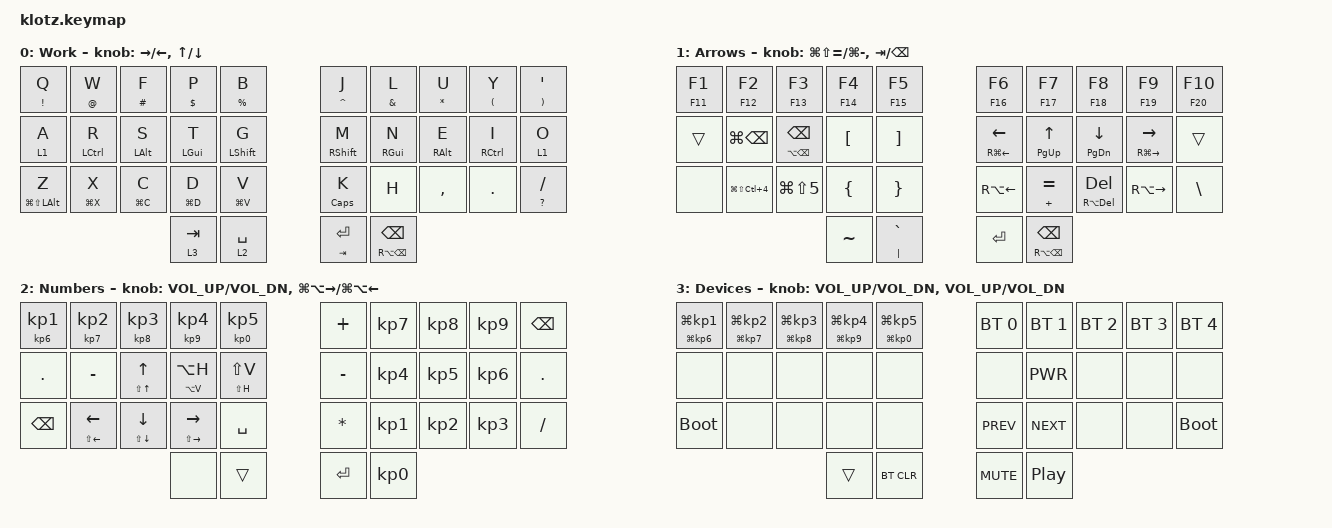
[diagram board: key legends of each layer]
//                                      █         ██        ▄▀▀▀▀▀▀▀▀▀▀█▀▀▀▀▀▀▀▀█▀▀▀▀▀▀▀▀▀▀█
//                                      █        █ █      ▄▀            ▀▄      █         █
//                                      █       █  █    ▄▀                ▀▄    █        █
//                                      █      █   █   █                    █   █       █
//                                      █     █    █   █                    █   █      █
//                                      █    █     █   █                    █   █  ▀▀▀█▀▀▀▀
//                                      █   █ █    █   █                    █   █    █
//                                      █  █   █   █   █                    █   █   █
//                                      █ █     █  █    ▀▄                ▄▀    █  █
//                                      ██       █ █      ▀▄            ▄▀      █ █
//                                      █         ██▄▄▄▄▄▄▄▄█▄▄▄▄▄▄▄▄▄▄▀        ██▄▄▄▄▄▄▄▄▄▄
//
// ▄▄▄▄▄▄▄▄▄▄▄▄▄▄▄▄▄▄▄▄▄▄▄▄▄▄▄▄▄▄▄▄▄▄▄▄▄▄▄▄▄▄▄▄▄▄▄▄▄▄▄▄▄▄▄▄▄▄▄▄▄▄▄▄▄▄▄▄▄▄▄▄▄▄▄▄▄▄▄▄▄▄▄▄▄▄▄▄▄▄▄▄▄▄▄▄▄▄▄▄▄▄▄▄▄▄▄▄▄▄▄▄▄▄▄▄▄▄▄▄▄▄▄▄▄

#include <behaviors.dtsi>
#include <dt-bindings/zmk/bt.h>
#include <dt-bindings/zmk/keys.h>
#include <dt-bindings/zmk/outputs.h>

#define Work     0
#define Arrows   1
#define Numbers  2
#define Devices  3
#define Left     4

/ {
  combos {
        compatible = "zmk,combos";
        esc {
            timeout-ms = <30>;
            key-positions = <1 2>;
            bindings = <&kp ESC>;
        };
        tab_right {
            timeout-ms = <30>;
            key-positions = <23 24>;
            bindings = <&kp LG(LA(RIGHT))>;
        };
        tab_left {
            timeout-ms = <30>;
            key-positions = <21 22>;
            bindings = <&kp LG(LA(LEFT))>;
        };
        clicking {
            timeout-ms = <50>;
            key-positions = <2 7>;
            bindings = <&kp LG(LS(LA(LC(X))))>;
        };
        scrolling {
            timeout-ms = <50>;
            key-positions = <1 8>;
            bindings = <&kp LG(LS(LA(LC(U))))>;
        };
        english {
            timeout-ms = <25>;
            key-positions = <17 18>;
            bindings = <&kp LANG2>;
        };
        nihongo {
            timeout-ms = <25>;
            key-positions = <7 8>;
            bindings = <&kp LANG1>;
        };
        combo_BACK {
            timeout-ms = <30>;
            key-positions = <11 13>;
            bindings = <&kp LG(LBKT)>;
        };
        combo_FORWARD {
            timeout-ms = <30>;
            key-positions = <11 12>;
            bindings = <&kp LG(RBKT)>;
        };
        combo_undo {
            timeout-ms = <30>;
            key-positions = <21 23>;
            bindings = <&kp LG(Z)>;
        };
        spotlight {
            timeout-ms = <30>;
            key-positions = <26 28>;
            bindings = <&kp LG(SPACE)>;
        };
        combo_COLON {
            timeout-ms = <30>;
            key-positions = <13 24>;
            bindings = <&kp COLON>;
        };
        combo_SEMI {
            timeout-ms = <30>;
            key-positions = <16 25>;
            bindings = <&kp SEMI>;
        };
        app_swap {
            timeout-ms = <30>;
            key-positions = <22 23>;
            bindings = <&kp LG(TAB)>;
        };
	    window_swap {
            timeout-ms = <30>;
            key-positions = <2 3>;
            bindings = <&kp LG(GRAVE)>;
        };
	    combo_HOME {
            timeout-ms = <25>;
            key-positions = <26 27>;
            bindings = <&kp HOME>;
        };
	    combo_END {
            timeout-ms = <25>;
            key-positions = <27 28>;
            bindings = <&kp END>;
        };
        combo_UNDER {
            timeout-ms = <50>;
            key-positions = <21 28>;
            bindings = <&kp UNDER>;
        };
        combo_MINUS {
            timeout-ms = <50>;
            key-positions = <22 27>;
            bindings = <&kp MINUS>;
        };
        space {
            timeout-ms = <50>;
            key-positions = <14 24>;
            bindings = <&kp SPACE>;
        };
        return {
            timeout-ms = <50>;
            key-positions = <13 14>;
            bindings = <&kp RET>;
        };
		hyper {
            timeout-ms = <50>;
            key-positions = <12 23>;
            bindings =  <&kp LG(LS(LA(LCTRL)))>;
        };
            };
   behaviors {
         hm: homerow_mods {
            compatible = "zmk,behavior-hold-tap";
            label = "HOMEROW_MODS";
            #binding-cells = <2>;
            tapping-term-ms = <220>;
            quick-tap-ms = <0>;
            flavor = "tap-preferred";
            bindings = <&kp>, <&kp>;
        };
        td: tapdance {
            compatible = "zmk,behavior-hold-tap";
            label = "TAPDANCE";
            #binding-cells = <2>;
            tapping-term-ms = <200>;
            quick_tap_ms = <0>;
            flavor = "tap-preferred";
            bindings = <&kp>, <&kp>;
        };
   };

       keymap {
                compatible = "zmk,keymap";

                Work {
                        bindings = <
       &td EXCL Q           &td AT W     &td HASH F      &td DLLR P            &td PRCNT B         &td CARET J   &td AMPS L    &td STAR U     &td LPAR Y    &td RPAR SQT
       &lt 1 A              &hm LCTRL R  &hm LALT S      &hm LGUI T            &hm LSHFT G         &hm RSHIFT M  &hm RGUI N    &hm RALT E     &hm RCTRL I   &lt 1 O
       &td LG(LS(LALT)) Z     &td LG(X) X  &td LG(C) C     &td LG(D) D         &td LG(V) V         &td CAPS K    &kp H         &kp COMMA      &kp DOT       &td QMARK FSLH
                                                         &lt 3 TAB             &lt 2 SPACE         &td TAB RET     &td RA(BSPC) BSPC
                        >;
                        sensor-bindings = <&inc_dec_kp RIGHT LEFT &inc_dec_kp UP DOWN>;
                };
                Arrows {
                        bindings = <
       &td F11 F1        &td F12 F2           &td F13 F3         &td F14 F4   &td F15 F5           &td F16 F6         &td F17 F7         &td F18 F8       &td F19 F9           &td F20 F10
       &trans            &kp LG(BSPC)         &td LA(BSPC) BSPC  &kp LBKT     &kp RBKT             &td RG(LEFT) LEFT  &td PG_UP UP       &td PG_DN DOWN   &td RG(RIGHT) RIGHT  &trans
       &none             &kp LG(LS(LC(N4)))   &kp LG(LS(N5))     &kp LBRC     &kp RBRC             &kp RA(LEFT)       &td PLUS EQUAL     &td RA(DEL) DEL  &kp RA(RIGHT)        &kp BSLH
                                                                 &kp TILDE    &td PIPE GRAVE       &kp RET            &td RA(BSPC) BSPC
                        >;
                                    sensor-bindings = <&inc_dec_kp LG(LS(EQUAL)) LG(MINUS) &inc_dec_kp TAB BSPC>;
                        };

                Numbers {
                        bindings = <
       &td KP_N6 KP_N1  &td KP_N7 KP_N2     &td KP_N8 KP_N3    &td KP_N9 KP_N4       &td KP_N0 KP_N5       &kp PLUS   &kp KP_N7   &kp KP_N8     &kp KP_N9  &kp BSPC
       &kp DOT         &kp MINUS            &td LS(UP) UP      &td LA(V) LA(H)       &td LS(H) LS(V)       &kp MINUS  &kp KP_N4   &kp KP_N5     &kp KP_N6  &kp DOT
       &kp BSPC        &td LS(LEFT) LEFT    &td LS(DOWN) DOWN  &td LS(RIGHT) RIGHT   &kp SPACE             &kp STAR   &kp KP_N1   &kp KP_N2     &kp KP_N3  &kp FSLH
                                                               &none                 &trans                &kp RET    &kp KP_N0
                        >;
                        sensor-bindings = <&inc_dec_kp C_VOL_UP C_VOL_DN &inc_dec_kp LG(LA(RIGHT)) LG(LA(LEFT))>;
                };

		Devices {
			bindings = <
        &td LG(KP_N6) LG(KP_N1)  &td LG(KP_N7) LG(KP_N2)    &td LG(KP_N8) LG(KP_N3)   &td LG(KP_N9) LG(KP_N4)    &td LG(KP_N0) LG(KP_N5)        &bt BT_SEL 0   &bt BT_SEL 1   &bt BT_SEL 2    &bt BT_SEL 3     &bt BT_SEL 4
        &none          &none            &none           &none            &none                &none          &kp C_PWR      &none           &none            &none
        &bootloader    &none            &none           &none            &none                &kp C_PREV     &kp C_NEXT       &none           &none            &bootloader
                                                        &trans           &bt BT_CLR           &kp C_MUTE     &kp C_PP
			>;
            sensor-bindings = <&inc_dec_kp C_VOL_UP C_VOL_DN &inc_dec_kp C_VOL_UP C_VOL_DN>;
		};
     };
};
// test
